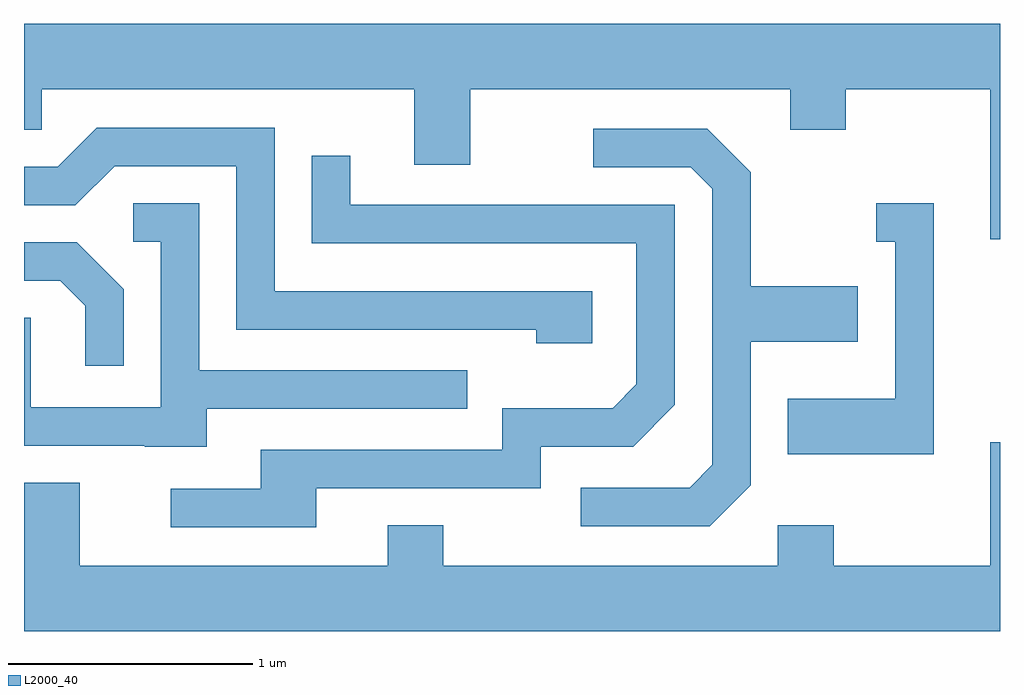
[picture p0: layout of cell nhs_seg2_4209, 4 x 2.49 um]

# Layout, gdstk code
import gdstk
lib = gdstk.Library(unit=1e-6, precision=1e-09)
def P(c, l, *ps):  # polygons
    for p in ps: c.add(gdstk.Polygon(p, *l))
L2000_40 = (2000, 40)

nhs_seg2_4209 = lib.new_cell('nhs_seg2_4209')
P(nhs_seg2_4209, L2000_40, [(313.611,995.304),(309.611,995.304),(309.611,994.871),(309.684,994.871),(309.684,995.036),(311.211,995.036),(311.211,994.726),(311.439,994.726),(311.439,995.036),(312.751,995.036),(312.751,994.871),(312.979,994.871),(312.979,995.036),(313.571,995.036),(313.571,994.421),(313.611,994.421)],
  [(311.939,994.209),(310.639,994.209),(310.639,994.879),(309.909,994.879),(309.749,994.719),(309.611,994.719),(309.611,994.561),(309.822,994.561),(309.982,994.721),(310.481,994.721),(310.481,994.051),(311.711,994.051),(311.711,993.996),(311.939,993.996)],
  [(312.589,993.414),(312.589,994.001),(313.029,994.001),(313.029,994.229),(312.589,994.229),(312.589,994.697),(312.412,994.874),(311.943,994.874),(311.943,994.716),(312.344,994.716),(312.431,994.629),(312.431,993.497),(312.339,993.404),(311.893,993.404),(311.893,993.246),(312.422,993.246)],
  [(310.809,993.401),(311.729,993.401),(311.729,993.571),(312.107,993.571),(312.279,993.744),(312.279,994.564),(310.949,994.564),(310.949,994.763),(310.791,994.763),(310.791,994.406),(312.121,994.406),(312.121,993.827),(312.024,993.729),(311.571,993.729),(311.571,993.559),(310.581,993.559),(310.581,993.399),(310.213,993.399),(310.213,993.241),(310.809,993.241)],
  [(310.359,993.726),(311.428,993.726),(311.428,993.884),(310.329,993.884),(310.329,994.569),(310.058,994.569),(310.058,994.411),(310.171,994.411),(310.171,993.734),(309.639,993.734),(309.639,994.099),(309.611,994.099),(309.611,993.576),(310.105,993.576),(310.105,993.571),(310.359,993.571)],
  [(313.339,994.569),(313.103,994.569),(313.103,994.411),(313.181,994.411),(313.181,993.769),(312.741,993.769),(312.741,993.541),(313.339,993.541)],
  [(310.019,994.217),(309.827,994.409),(309.611,994.409),(309.611,994.251),(309.759,994.251),(309.861,994.149),(309.861,993.903),(310.019,993.903)],
  [(313.611,993.589),(313.571,993.589),(313.571,993.084),(312.929,993.084),(312.929,993.249),(312.701,993.249),(312.701,993.084),(311.329,993.084),(311.329,993.249),(311.101,993.249),(311.101,993.084),(309.839,993.084),(309.839,993.424),(309.611,993.424),(309.611,992.816),(313.611,992.816)])

lib.write_gds('nhs_seg2_4209.gds')
